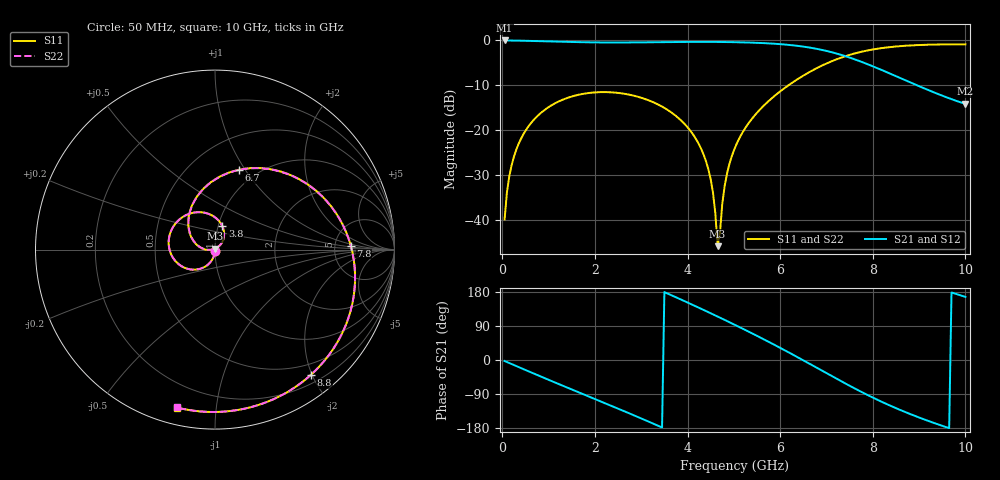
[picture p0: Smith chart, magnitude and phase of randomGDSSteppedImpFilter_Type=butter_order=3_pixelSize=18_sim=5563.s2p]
! freq	dB(S11)	phase(S11)	dB(S12)	phase(S12)
!  dB(S21)	phase(S21)	dB(S22)	phase(S22)
!S-par simulation data
#  GHz  S  DB  R 50
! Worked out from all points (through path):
!   200 points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, 50 MHz to 10 GHz, reference 50 ohm
!   highest |S21| = 0.00 dB at 50 MHz (marker M1); lowest = -14.1 dB at 10 GHz (marker M2)
!   group delay of S21, straight-line fit = 160 ps
!   lowest |S11| = -45.8 dB at 4.65 GHz (marker M3), VSWR 1.01, Z = 50.1 + j0.51 ohm
!   |S11| at or under -10 dB: start of sweep to 6.177 GHz
!   |S22| runs from -44.3 to -0.9 dB; largest |S21 - S12| = 0
!   S11 on the Smith chart (normalised r, x): 50 MHz: 1.00, -0.02; 3.8 GHz: 1.05, +0.28; 6.7 GHz: 0.83, +0.94; 7.8 GHz: 7.15, +0.75; 8.8 GHz: 0.32, -1.98; 10 GHz: 0.08, -0.78
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0.05  -39.83 -92.4  -0.00 -2.7  -0.00 -2.7  -39.83 -92.4
0.1  -33.82 -95.3  -0.01 -5.3  -0.01 -5.3  -33.82 -95.3
0.2  -27.84 -100.8  -0.02 -10.6  -0.02 -10.6  -27.84 -100.8
0.5  -20.12 -116.9  -0.08 -26.4  -0.08 -26.4  -20.12 -116.8
1.15  -13.93 -150.7  -0.25 -60.0  -0.25 -60.0  -13.93 -150.7
1.75  -11.88 178.8  -0.40 -90.4  -0.40 -90.4  -11.88 178.9
2.5  -11.68 140.9  -0.46 -128.4  -0.46 -128.4  -11.68 141.0
3.4  -14.45 94.2  -0.38 -175.4  -0.38 -175.4  -14.45 94.3
3.8  -17.24 72.8  -0.34 162.8  -0.34 162.8  -17.24 73.1
4.4  -26.94 42.3  -0.32 129.1  -0.32 129.1  -26.92 43.6
4.55  -33.91 40.0  -0.33 120.5  -0.33 120.5  -33.80 43.1
4.65  -45.80 83.3  -0.33 114.7  -0.33 114.7  -44.29 88.0
4.8  -32.50 -175.6  -0.35 105.9  -0.35 105.9  -32.41 -178.6
5.05  -23.27 175.8  -0.39 91.1  -0.39 91.1  -23.26 174.7
5.5  -16.09 150.2  -0.53 63.7  -0.53 63.7  -16.09 149.6
6  -11.35 119.2  -0.82 32.1  -0.82 32.1  -11.35 118.8
6.7  -6.66 73.3  -1.70 -14.3  -1.70 -14.3  -6.66 73.0
7.25  -4.08 36.6  -3.01 -51.5  -3.01 -51.5  -4.08 36.4
7.8  -2.42 1.7  -4.93 -87.0  -4.93 -87.0  -2.42 1.5
8.35  -1.50 -29.8  -7.27 -119.0  -7.27 -119.0  -1.50 -29.9
8.8  -1.12 -52.6  -9.30 -142.3  -9.30 -142.3  -1.12 -52.7
10  -0.87 -103.6  -14.11 166.5  -14.11 166.5  -0.87 -103.7
